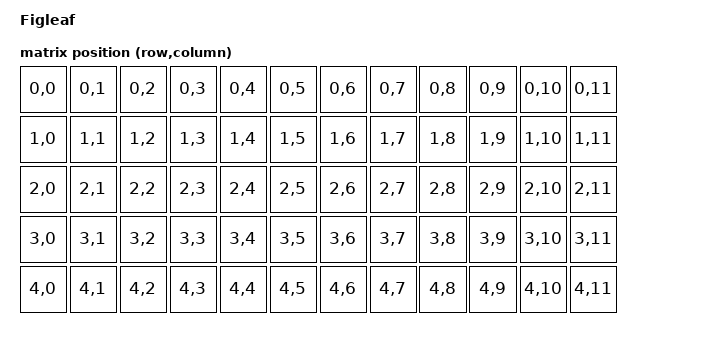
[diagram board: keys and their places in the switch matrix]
/dts-v1/;
#include <nordic/nrf52840_qiaa.dtsi>
#include <common/nordic/nrf52840_uf2_boot_mode.dtsi>

#include <dt-bindings/zmk/matrix_transform.h>

#include "figleaf-layouts.dtsi"
#include "figleaf-pinctrl.dtsi"

&physical_layout0 {
    transform = <&matrix_transform0>;
};

/ {
    model = "Figleaf";
    compatible = "graz,figleaf";

    chosen {
        zephyr,code-partition = &code_partition;
        zephyr,sram = &sram0;
        zephyr,flash = &flash0;
        zmk,battery = &vbatt;
        zmk,physical-layout = &physical_layout0;
        zmk,kscan = &kscan0;
    };

    matrix_transform0: keymap_transform_0 {
        compatible = "zmk,matrix-transform";
        columns = <12>;
        rows = <5>;

        map = <
            RC(0,0) RC(0,1) RC(0,2) RC(0,3) RC(0,4) RC(0,5)    RC(0,6) RC(0,7) RC(0,8) RC(0,9) RC(0,10) RC(0,11)
            RC(1,0) RC(1,1) RC(1,2) RC(1,3) RC(1,4) RC(1,5)    RC(1,6) RC(1,7) RC(1,8) RC(1,9) RC(1,10) RC(1,11)
            RC(2,0) RC(2,1) RC(2,2) RC(2,3) RC(2,4) RC(2,5)    RC(2,6) RC(2,7) RC(2,8) RC(2,9) RC(2,10) RC(2,11)
            RC(3,0) RC(3,1) RC(3,2) RC(3,3) RC(3,4) RC(3,5)    RC(3,6) RC(3,7) RC(3,8) RC(3,9) RC(3,10) RC(3,11)
            RC(4,0) RC(4,1) RC(4,2) RC(4,3) RC(4,4) RC(4,5)    RC(4,6) RC(4,7) RC(4,8) RC(4,9) RC(4,10) RC(4,11)
        >;
    };

    /* Battery feeds VDDH (+VSW); measured internally via the VDDHDIV5 SAADC input */
    vbatt: vbatt {
        compatible = "zmk,battery-nrf-vddh";
    };
};

/* MK08 module is powered in high-voltage mode and includes the DC/DC inductors */
&reg0 {
    regulator-initial-mode = <NRF5X_REG_MODE_DCDC>;
};

&reg1 {
    regulator-initial-mode = <NRF5X_REG_MODE_DCDC>;
};

&adc {
    status = "okay";
};

&gpiote {
    status = "okay";
};

&gpio0 {
    status = "okay";
};

&gpio1 {
    status = "okay";
};

/* SDA = P0.07, SCL = P0.05 — enable in an overlay when a peripheral is attached */
&i2c0 {
    compatible = "nordic,nrf-twi";
    pinctrl-0 = <&i2c0_default>;
    pinctrl-1 = <&i2c0_sleep>;
    pinctrl-names = "default", "sleep";
};

zephyr_udc0: &usbd {
    status = "okay";
};

&flash0 {
    /* Adafruit nRF52 UF2 bootloader layout */
    partitions {
        compatible = "fixed-partitions";
        #address-cells = <1>;
        #size-cells = <1>;

        sd_partition: partition@0 {
            reg = <0x00000000 0x00026000>;
        };
        code_partition: partition@26000 {
            reg = <0x00026000 0x000c6000>;
        };

        /*
         * Storage partition used by FCB/LittleFS/NVS
         * if enabled.
         */
        storage_partition: partition@ec000 {
            reg = <0x000ec000 0x00008000>;
        };

        boot_partition: partition@f4000 {
            reg = <0x000f4000 0x0000c000>;
        };
    };
};
